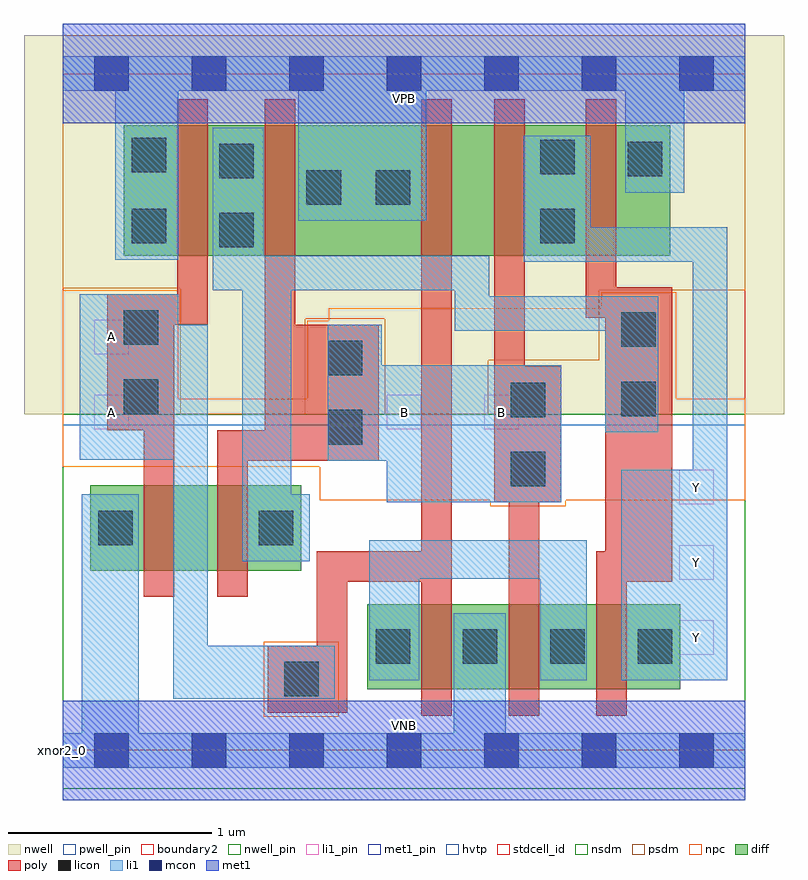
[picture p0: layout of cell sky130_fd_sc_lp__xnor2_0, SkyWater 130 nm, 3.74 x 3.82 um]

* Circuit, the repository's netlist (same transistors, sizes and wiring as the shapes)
* Copyright 2020 The SkyWater PDK Authors
*
* Licensed under the Apache License, Version 2.0 (the "License");
* you may not use this file except in compliance with the License.
* You may obtain a copy of the License at
*
*     https://www.apache.org/licenses/LICENSE-2.0
*
* Unless required by applicable law or agreed to in writing, software
* distributed under the License is distributed on an "AS IS" BASIS,
* WITHOUT WARRANTIES OR CONDITIONS OF ANY KIND, either express or implied.
* See the License for the specific language governing permissions and
* limitations under the License.
*
* SPDX-License-Identifier: Apache-2.0

.SUBCKT sky130_fd_sc_lp__xnor2_0 A B VGND VNB VPB VPWR Y
*.PININFO A:I B:I VGND:I VNB:I VPB:I VPWR:I Y:O
MMNnand0 VGND A sndNA VNB sky130_fd_pr__nfet_01v8 m=1 w=0.42U l=0.15U mult=1 sa=0.265
+ sb=0.265 sd=0.28 area=0.063 perim=1.14
MMNnand1 sndNA B inand VNB sky130_fd_pr__nfet_01v8 m=1 w=0.42U l=0.15U mult=1 sa=0.265
+ sb=0.265 sd=0.28 area=0.063 perim=1.14
MMNaoi10 nmid A VGND VNB sky130_fd_pr__nfet_01v8 m=1 w=0.42U l=0.15U mult=1 sa=0.265
+ sb=0.265 sd=0.28 area=0.063 perim=1.14
MMNaoi11 nmid B VGND VNB sky130_fd_pr__nfet_01v8 m=1 w=0.42U l=0.15U mult=1 sa=0.265
+ sb=0.265 sd=0.28 area=0.063 perim=1.14
MMNaoi20 Y inand nmid VNB sky130_fd_pr__nfet_01v8 m=1 w=0.42U l=0.15U mult=1 sa=0.265
+ sb=0.265 sd=0.28 area=0.063 perim=1.14
MMPnand0 inand A VPWR VPB sky130_fd_pr__pfet_01v8_hvt m=1 w=0.64U l=0.15U mult=1
+ sa=0.265 sb=0.265 sd=0.28 area=0.063 perim=1.14
MMPnand1 inand B VPWR VPB sky130_fd_pr__pfet_01v8_hvt m=1 w=0.64U l=0.15U mult=1
+ sa=0.265 sb=0.265 sd=0.28 area=0.063 perim=1.14
MMPaoi10 VPWR A sndPA VPB sky130_fd_pr__pfet_01v8_hvt m=1 w=0.64U l=0.15U mult=1
+ sa=0.265 sb=0.265 sd=0.28 area=0.063 perim=1.14
MMPaoi11 sndPA B Y VPB sky130_fd_pr__pfet_01v8_hvt m=1 w=0.64U l=0.15U mult=1 sa=0.265
+ sb=0.265 sd=0.28 area=0.063 perim=1.14
MMPaoi20 Y inand VPWR VPB sky130_fd_pr__pfet_01v8_hvt m=1 w=0.64U l=0.15U mult=1
+ sa=0.265 sb=0.265 sd=0.28 area=0.063 perim=1.14
.ENDS sky130_fd_sc_lp__xnor2_0

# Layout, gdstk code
import gdstk
lib = gdstk.Library(unit=1e-6, precision=1e-09)
def R(c, l, rs):  # rectangles x0, y0, x1, y1
    for r in rs: c.add(gdstk.rectangle(r[:2], r[2:], *l))
def A(c, l, x, y, w, h, nx, ny, dx, dy):  # array of equal rectangles
    R(c, l, [(x+i*dx, y+j*dy, x+i*dx+w, y+j*dy+h) for i in range(nx) for j in range(ny)])
def P(c, l, *ps):  # polygons
    for p in ps: c.add(gdstk.Polygon(p, *l))
nwell_pin = (64, 16)
nwell = (64, 20)
diff = (65, 20)
poly = (66, 20)
licon = (66, 44)
li1_pin = (67, 16)
li1 = (67, 20)
mcon = (67, 44)
met1_pin = (68, 16)
met1 = (68, 20)
hvtp = (78, 44)
stdcell_id = (81, 4)
nsdm = (93, 44)
psdm = (94, 20)
npc = (95, 20)
pwell_pin = (122, 16)
boundary2 = (236, 0)

sky130_fd_sc_lp__xnor2_0 = lib.new_cell('sky130_fd_sc_lp__xnor2_0')
R(sky130_fd_sc_lp__xnor2_0, nwell_pin, [(0,3.085,3.36,3.33)])
R(sky130_fd_sc_lp__xnor2_0, nwell, [(-0.19,1.655,3.55,3.52)])
R(sky130_fd_sc_lp__xnor2_0, diff, [(1.5,0.3,3.04,0.72), (0.135,0.885,1.175,1.305), (0.3,2.435,2.99,3.075)])
P(sky130_fd_sc_lp__xnor2_0, poly, [(3,2.28),(2.725,2.28),(2.725,3.205),(2.575,3.205),(2.575,2.13),(2.67,2.13),(2.67,0.98),(2.625,0.98),(2.625,0.17),(2.775,0.17),(2.775,0.83),(3,0.83)],
  [(2.455,1.89),(2.275,1.89),(2.275,3.205),(2.125,3.205),(2.125,1.22),(2.195,1.22),(2.195,0.17),(2.345,0.17),(2.345,1.22),(2.455,1.22)],
  [(0.715,3.205),(0.565,3.205),(0.565,2.245),(0.22,2.245),(0.22,1.575),(0.4,1.575),(0.4,0.755),(0.55,0.755),(0.55,2.095),(0.715,2.095)],
  [(1.555,2.095),(1.145,2.095),(1.145,3.205),(0.995,3.205),(0.995,1.575),(0.76,1.575),(0.76,0.755),(0.91,0.755),(0.91,1.425),(1.555,1.425)],
  [(1.915,3.205),(1.765,3.205),(1.765,0.98),(1.25,0.98),(1.25,0.515),(1.01,0.515),(1.01,0.185),(1.4,0.185),(1.4,0.83),(1.765,0.83),(1.765,0.17),(1.915,0.17)])
A(sky130_fd_sc_lp__xnor2_0, licon, 1.54, 0.425, 0.17, 0.17, 4, 1, 0.43, 0)
R(sky130_fd_sc_lp__xnor2_0, licon, [(1.09,0.265,1.26,0.435), (0.175,1.01,0.345,1.18), (0.965,1.01,1.135,1.18), (2.205,1.3,2.375,1.47), (1.305,1.505,1.475,1.675), (2.205,1.64,2.375,1.81), (2.75,1.645,2.92,1.815), (0.3,1.655,0.47,1.825), (1.305,1.845,1.475,2.015), (2.75,1.985,2.92,2.155), (0.3,1.995,0.47,2.165), (0.77,2.475,0.94,2.645), (0.34,2.495,0.51,2.665), (2.35,2.495,2.52,2.665), (1.2,2.685,1.37,2.855), (1.54,2.685,1.71,2.855), (0.77,2.815,0.94,2.985), (2.78,2.825,2.95,2.995), (2.35,2.835,2.52,3.005), (0.34,2.845,0.51,3.015)])
A(sky130_fd_sc_lp__xnor2_0, li1_pin, 3.035, 0.47, 0.17, 0.17, 1, 3, 0, 0.37)
R(sky130_fd_sc_lp__xnor2_0, li1_pin, [(0.155,1.58,0.325,1.75), (1.595,1.58,1.765,1.75), (2.075,1.58,2.245,1.75), (0.155,1.95,0.325,2.12)])
P(sky130_fd_sc_lp__xnor2_0, li1, [(3.27,2.575),(2.6,2.575),(2.6,3.025),(2.27,3.025),(2.27,2.405),(3.1,2.405),(3.1,1.38),(2.75,1.38),(2.75,0.345),(3.27,0.345)],
  [(2.93,2.235),(2.1,2.235),(2.1,2.435),(0.99,2.435),(0.99,3.065),(0.74,3.065),(0.74,2.265),(0.885,2.265),(0.885,0.93),(1.215,0.93),(1.215,1.26),(1.125,1.26),(1.125,2.265),(1.93,2.265),(1.93,2.065),(2.67,2.065),(2.67,1.565),(2.93,1.565)],
  [(1.34,0.515),(0.715,0.515),(0.715,2.095),(0.57,2.095),(0.57,2.245),(0.085,2.245),(0.085,1.43),(0.545,1.43),(0.545,0.255),(1.34,0.255)],
  [(2.58,1.035),(1.51,1.035),(1.51,0.345),(1.755,0.345),(1.755,0.845),(2.35,0.845),(2.35,0.345),(2.58,0.345)],
  [(3.36,3.415),(0,3.415),(0,3.245),(0.26,3.245),(0.26,2.415),(0.57,2.415),(0.57,3.245),(1.16,3.245),(1.16,2.605),(1.79,2.605),(1.79,3.245),(2.77,3.245),(2.77,2.745),(3.06,2.745),(3.06,3.245),(3.36,3.245)],
  [(2.455,1.895),(1.57,1.895),(1.57,2.095),(1.305,2.095),(1.305,1.425),(1.595,1.425),(1.595,1.22),(2.455,1.22)],
  [(3.36,0.085),(2.18,0.085),(2.18,0.675),(1.925,0.675),(1.925,0.085),(0.375,0.085),(0.375,1.26),(0.095,1.26),(0.095,0.085),(0,0.085),(0,-0.085),(3.36,-0.085)])
A(sky130_fd_sc_lp__xnor2_0, mcon, 0.155, -0.085, 0.17, 0.17, 7, 2, 0.48, 3.33)
R(sky130_fd_sc_lp__xnor2_0, met1_pin, [(0,0,3.36,0.245), (0,3.085,3.36,3.33)])
R(sky130_fd_sc_lp__xnor2_0, met1, [(0,-0.245,3.36,0.245), (0,3.085,3.36,3.575)])
R(sky130_fd_sc_lp__xnor2_0, hvtp, [(0,1.6,3.36,3.33)])
R(sky130_fd_sc_lp__xnor2_0, stdcell_id, [(0,0,3.36,3.33)])
R(sky130_fd_sc_lp__xnor2_0, nsdm, [(0,-0.19,3.36,1.655)])
P(sky130_fd_sc_lp__xnor2_0, psdm, [(3.36,3.52),(0,3.52),(0,2.275),(0.58,2.275),(0.58,1.655),(1.195,1.655),(1.195,2.125),(1.585,2.125),(1.585,1.655),(2.095,1.655),(2.095,1.92),(2.64,1.92),(2.64,2.265),(3.36,2.265)])
R(sky130_fd_sc_lp__xnor2_0, npc, [(0.99,0.165,1.36,0.535)])
P(sky130_fd_sc_lp__xnor2_0, npc, [(3.36,1.73),(3.02,1.73),(3.02,2.255),(2.65,2.255),(2.65,2.175),(1.31,2.175),(1.31,2.115),(1.205,2.115),(1.205,1.73),(0.57,1.73),(0.57,2.265),(0,2.265),(0,1.395),(1.265,1.395),(1.265,1.23),(2.105,1.23),(2.105,1.2),(2.475,1.2),(2.475,1.23),(3.36,1.23)])
R(sky130_fd_sc_lp__xnor2_0, pwell_pin, [(0,0,3.36,0.245)])
R(sky130_fd_sc_lp__xnor2_0, boundary2, [(0,0,3.36,3.33)])
sky130_fd_sc_lp__xnor2_0.add(gdstk.Label('VNB', (1.68,0.123), layer=64, texttype=59))
sky130_fd_sc_lp__xnor2_0.add(gdstk.Label('VPB', (1.68,3.208), layer=64, texttype=5))
sky130_fd_sc_lp__xnor2_0.add(gdstk.Label('xnor2_0', (0,0), layer=83, texttype=44))
sky130_fd_sc_lp__xnor2_0.add(gdstk.Label('VPWR', (1.68,3.208), layer=68, texttype=5))
sky130_fd_sc_lp__xnor2_0.add(gdstk.Label('VGND', (1.68,0.123), layer=68, texttype=5))
sky130_fd_sc_lp__xnor2_0.add(gdstk.Label('B', (1.68,1.665), layer=67, texttype=5))
sky130_fd_sc_lp__xnor2_0.add(gdstk.Label('B', (2.16,1.665), layer=67, texttype=5))
sky130_fd_sc_lp__xnor2_0.add(gdstk.Label('Y', (3.12,0.555), layer=67, texttype=5))
sky130_fd_sc_lp__xnor2_0.add(gdstk.Label('Y', (3.12,0.925), layer=67, texttype=5))
sky130_fd_sc_lp__xnor2_0.add(gdstk.Label('Y', (3.12,1.295), layer=67, texttype=5))
sky130_fd_sc_lp__xnor2_0.add(gdstk.Label('A', (0.24,1.665), layer=67, texttype=5))
sky130_fd_sc_lp__xnor2_0.add(gdstk.Label('A', (0.24,2.035), layer=67, texttype=5))

lib.write_gds('sky130_fd_sc_lp__xnor2_0.gds')
